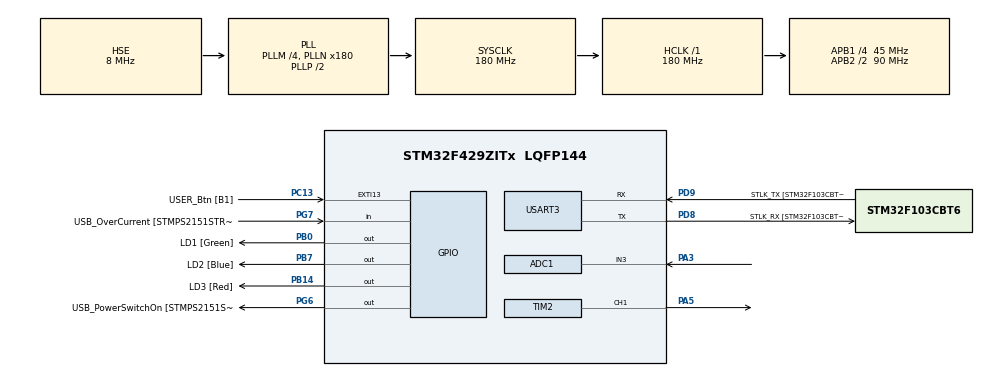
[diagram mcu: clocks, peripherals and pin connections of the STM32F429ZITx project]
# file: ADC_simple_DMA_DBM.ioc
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ADC1.Channel-1\#ChannelRegularConversion=ADC_CHANNEL_3
ADC1.NbrOfConversionFlag=1
ADC1.Rank-1\#ChannelRegularConversion=1
ADC1.SamplingTime-1\#ChannelRegularConversion=ADC_SAMPLETIME_3CYCLES
ADC1.master=1
Dma.ADC1.0.Direction=DMA_PERIPH_TO_MEMORY
Dma.ADC1.0.FIFOMode=DMA_FIFOMODE_DISABLE
Dma.ADC1.0.Instance=DMA2_Stream0
Dma.ADC1.0.MemDataAlignment=DMA_MDATAALIGN_HALFWORD
Dma.ADC1.0.MemInc=DMA_MINC_ENABLE
Dma.ADC1.0.Mode=DMA_NORMAL
Dma.ADC1.0.PeriphDataAlignment=DMA_PDATAALIGN_HALFWORD
Dma.ADC1.0.PeriphInc=DMA_PINC_DISABLE
Dma.ADC1.0.Priority=DMA_PRIORITY_MEDIUM
Dma.Request0=ADC1
Mcu.Family=STM32F4
Mcu.Name=STM32F429ZITx
Mcu.Package=LQFP144
NVIC.DMA2_Stream0_IRQn=true\:0\:0\:false\:false\:true\:false\:true\:true
NVIC.PriorityGroup=NVIC_PRIORITYGROUP_4
PA1.GPIO_Label=RMII_REF_CLK [LAN8742A-CZ-TR_REFCLK0]
PA1.Signal=ETH_REF_CLK
PA10.GPIO_Label=USB_ID
PA10.Signal=USB_OTG_FS_ID
PA11.GPIO_Label=USB_DM
PA11.Signal=USB_OTG_FS_DM
PA12.GPIO_Label=USB_DP
PA12.Signal=USB_OTG_FS_DP
PA13.GPIO_Label=TMS
PA13.Mode=Serial_Wire
PA13.Signal=SYS_JTMS-SWDIO
PA14.GPIO_Label=TCK
PA14.Mode=Serial_Wire
PA14.Signal=SYS_JTCK-SWCLK
PA2.GPIO_Label=RMII_MDIO [LAN8742A-CZ-TR_MDIO]
PA2.Signal=ETH_MDIO
PA3.Signal=ADCx_IN3
PA5.Signal=S_TIM2_CH1_ETR
PA7.GPIO_Label=RMII_CRS_DV [LAN8742A-CZ-TR_CRS_DV]
PA7.Signal=ETH_CRS_DV
PA8.GPIO_Label=USB_SOF [TP1]
PA8.Signal=USB_OTG_FS_SOF
PA9.GPIO_Label=USB_VBUS
PA9.Signal=USB_OTG_FS_VBUS
PB0.GPIO_Label=LD1 [Green]
PB0.Signal=GPIO_Output
PB13.GPIO_Label=RMII_TXD1 [LAN8742A-CZ-TR_TXD1]
PB13.Signal=ETH_TXD1
PB14.GPIO_Label=LD3 [Red]
PB14.Signal=GPIO_Output
PB7.GPIO_Label=LD2 [Blue]
PB7.Signal=GPIO_Output
PC1.GPIO_Label=RMII_MDC [LAN8742A-CZ-TR_MDC]
PC1.Signal=ETH_MDC
PC13.GPIO_Label=USER_Btn [B1]
PC13.Signal=GPXTI13
PC14/OSC32_IN.Mode=LSE-External-Oscillator
PC14/OSC32_IN.Signal=RCC_OSC32_IN
PC15/OSC32_OUT.Mode=LSE-External-Oscillator
PC15/OSC32_OUT.Signal=RCC_OSC32_OUT
PC4.GPIO_Label=RMII_RXD0 [LAN8742A-CZ-TR_RXD0]
PC4.Signal=ETH_RXD0
PC5.GPIO_Label=RMII_RXD1 [LAN8742A-CZ-TR_RXD1]
PC5.Signal=ETH_RXD1
PD8.GPIO_Label=STLK_RX [STM32F103CBT6_PA3]
PD8.Mode=Asynchronous
PD8.Signal=USART3_TX
PD9.GPIO_Label=STLK_TX [STM32F103CBT6_PA2]
PD9.Mode=Asynchronous
PD9.Signal=USART3_RX
PG11.GPIO_Label=RMII_TX_EN [LAN8742A-CZ-TR_TXEN]
PG11.Signal=ETH_TX_EN
PG13.GPIO_Label=RMII_TXD0 [LAN8742A-CZ-TR_TXD0]
PG13.Signal=ETH_TXD0
PG6.GPIO_Label=USB_PowerSwitchOn [STMPS2151STR_EN]
PG6.Signal=GPIO_Output
PG7.GPIO_Label=USB_OverCurrent [STMPS2151STR_FAULT]
PG7.Signal=GPIO_Input
PH0/OSC_IN.GPIO_Label=MCO [STM32F103CBT6_PA8]
PH0/OSC_IN.Mode=HSE-External-Oscillator
PH0/OSC_IN.Signal=RCC_OSC_IN
PH1/OSC_OUT.Mode=HSE-External-Oscillator
PH1/OSC_OUT.Signal=RCC_OSC_OUT
ProjectManager.HeapSize=0x200
ProjectManager.StackSize=0x400
ProjectManager.TargetToolchain=STM32CubeIDE
RCC.48MHZClocksFreq_Value=51428571.428571425
RCC.AHBFreq_Value=180000000
RCC.APB1CLKDivider=RCC_HCLK_DIV4
RCC.APB1Freq_Value=45000000
RCC.APB1TimFreq_Value=90000000
RCC.APB2CLKDivider=RCC_HCLK_DIV2
RCC.APB2Freq_Value=90000000
RCC.APB2TimCLKDivider=2
RCC.APB2TimFreq_Value=180000000
RCC.CortexFreq_Value=180000000
RCC.HCLKFreq_Value=180000000
RCC.HSE_VALUE=8000000
RCC.HSI_VALUE=16000000
RCC.PLLM=4
RCC.PLLMUL=RCC_PLL_MUL9
RCC.PLLN=180
RCC.PLLQ=7
RCC.PLLSourceVirtual=RCC_PLLSOURCE_HSE
RCC.PRESCALERUSB=RCC_USBCLKSOURCE_PLL_DIV1_5
RCC.SYSCLKFreq_VALUE=180000000
RCC.SYSCLKSource=RCC_SYSCLKSOURCE_PLLCLK
RCC.SYSCLKSourceVirtual=RCC_SYSCLKSOURCE_PLLCLK
RCC.USBFreq_Value=48000000
RCC.VCOOutputFreq_Value=360000000
SH.ADCx_IN3.0=ADC1_IN3,IN3
SH.S_TIM2_CH1_ETR.0=TIM2_CH1,PWM Generation1 CH1
TIM2.AutoReloadPreload=TIM_AUTORELOAD_PRELOAD_ENABLE
TIM2.Channel-PWM\ Generation1\ CH1=TIM_CHANNEL_1
TIM2.Period=65535
TIM2.Prescaler=1
USART3.VirtualMode=VM_ASYNC
VP_TIM2_VS_ClockSourceINT.Mode=Internal
board=NUCLEO-F429ZI

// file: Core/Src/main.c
/* USER CODE BEGIN Header */
/**
  ******************************************************************************
  * @file           : main.c
  * @brief          : Ejemplo de ADC simple utilizando DMA.
  ******************************************************************************
  *
  * El ejemplo se desarrolló en base a:
  * https://deepbluembedded.com/stm32-adc-read-example-dma-interrupt-polling/
  *
  ******************************************************************************
  */
/* USER CODE END Header */
#include "main.h"

/* USER CODE BEGIN Includes */
#include "uOSAL.h"

/* USER CODE END Includes */

/* USER CODE BEGIN PM */
#define DELTA 500

/* USER CODE END PM */

ADC_HandleTypeDef hadc1;
DMA_HandleTypeDef hdma_adc1;
TIM_HandleTypeDef htim2;
UART_HandleTypeDef huart3;

/* USER CODE BEGIN PV */
uint32_t AD_RES = 0;

/* USER CODE END PV */

void SystemClock_Config(void);
static void MX_GPIO_Init(void);
static void MX_DMA_Init(void);
static void MX_USART3_UART_Init(void);
static void MX_ADC1_Init(void);
static void MX_TIM2_Init(void);

int main(void)
{

  /* MCU Configuration--------------------------------------------------------*/

  /* Reset of all peripherals, Initializes the Flash interface and the Systick. */
  HAL_Init();

  /* Configure the system clock */
  SystemClock_Config();

  /* Initialize all configured peripherals */
  MX_GPIO_Init();
  MX_DMA_Init();
  MX_USART3_UART_Init();
  MX_ADC1_Init();
  MX_TIM2_Init();
  /* USER CODE BEGIN 2 */
  //-----------------------------------------------------------------------------------------------
  uint32_t Tiempo_ms = uOSALmiliseg ();
  uartInit();

  GPIO_InitTypeDef  GPIO_InitStruct;
  GPIO_InitStruct.Pin = GPIO_PIN_0;
  GPIO_InitStruct.Mode = GPIO_MODE_OUTPUT_PP;
  GPIO_InitStruct.Pull = GPIO_NOPULL;
  GPIO_InitStruct.Speed = GPIO_SPEED_FAST;
  HAL_GPIO_Init(GPIOA, &GPIO_InitStruct);

  HAL_TIM_PWM_Start(&htim2, TIM_CHANNEL_1);
  //HAL_ADCEx_Calibration_Start(&hadc1);   // Calibrate The ADC On Power-Up For Better Accuracy

  //-----------------------------------------------------------------------------------------------
  /* USER CODE END 2 */

  /* Infinite loop */
  while (1)
  {

    /* USER CODE BEGIN 3 */
	//---------------------------------------------------------------------------------------------

	// Para medir tiempo de conversión
	HAL_GPIO_WritePin(GPIOA, GPIO_PIN_0, GPIO_PIN_SET);

	// Start ADC Conversion
	HAL_ADC_Start_DMA(&hadc1, &AD_RES, 1);
	HAL_Delay(1);

	// Evalúo si envío a UART
	if (uOSALmiliseg ()-Tiempo_ms > DELTA) {
		Tiempo_ms += DELTA;
		uEscribirTextoEnteroP ("Leo:", AD_RES);
	}

  }
  //-----------------------------------------------------------------------------------------------
  /* USER CODE END 3 */
}

void HAL_ADC_ConvCpltCallback(ADC_HandleTypeDef* hadc)
{
    // Read & Update The ADC Result
    TIM2->CCR1 = (AD_RES<<4);
    // Para medir tiempo de conversión
    HAL_GPIO_WritePin(GPIOA, GPIO_PIN_0, GPIO_PIN_RESET);
}

void SystemClock_Config(void)
{
  RCC_OscInitTypeDef RCC_OscInitStruct = {0};
  RCC_ClkInitTypeDef RCC_ClkInitStruct = {0};

  /** Configure the main internal regulator output voltage
  */
  __HAL_RCC_PWR_CLK_ENABLE();
  __HAL_PWR_VOLTAGESCALING_CONFIG(PWR_REGULATOR_VOLTAGE_SCALE1);

  /** Initializes the RCC Oscillators according to the specified parameters
  * in the RCC_OscInitTypeDef structure.
  */
  RCC_OscInitStruct.OscillatorType = RCC_OSCILLATORTYPE_HSE;
  RCC_OscInitStruct.HSEState = RCC_HSE_ON;
  RCC_OscInitStruct.PLL.PLLState = RCC_PLL_ON;
  RCC_OscInitStruct.PLL.PLLSource = RCC_PLLSOURCE_HSE;
  RCC_OscInitStruct.PLL.PLLM = 4;
  RCC_OscInitStruct.PLL.PLLN = 180;
  RCC_OscInitStruct.PLL.PLLP = RCC_PLLP_DIV2;
  RCC_OscInitStruct.PLL.PLLQ = 7;
  if (HAL_RCC_OscConfig(&RCC_OscInitStruct) != HAL_OK)
  {
    Error_Handler();
  }

  /** Activate the Over-Drive mode
  */
  if (HAL_PWREx_EnableOverDrive() != HAL_OK)
  {
    Error_Handler();
  }

  /** Initializes the CPU, AHB and APB buses clocks
  */
  RCC_ClkInitStruct.ClockType = RCC_CLOCKTYPE_HCLK|RCC_CLOCKTYPE_SYSCLK
                              |RCC_CLOCKTYPE_PCLK1|RCC_CLOCKTYPE_PCLK2;
  RCC_ClkInitStruct.SYSCLKSource = RCC_SYSCLKSOURCE_PLLCLK;
  RCC_ClkInitStruct.AHBCLKDivider = RCC_SYSCLK_DIV1;
  RCC_ClkInitStruct.APB1CLKDivider = RCC_HCLK_DIV4;
  RCC_ClkInitStruct.APB2CLKDivider = RCC_HCLK_DIV2;

  if (HAL_RCC_ClockConfig(&RCC_ClkInitStruct, FLASH_LATENCY_5) != HAL_OK)
  {
    Error_Handler();
  }
}

static void MX_ADC1_Init(void)
{

  ADC_ChannelConfTypeDef sConfig = {0};

  /** Configure the global features of the ADC (Clock, Resolution, Data Alignment and number of conversion)
  */
  hadc1.Instance = ADC1;
  hadc1.Init.ClockPrescaler = ADC_CLOCK_SYNC_PCLK_DIV4;
  hadc1.Init.Resolution = ADC_RESOLUTION_12B;
  hadc1.Init.ScanConvMode = DISABLE;
  hadc1.Init.ContinuousConvMode = DISABLE;
  hadc1.Init.DiscontinuousConvMode = DISABLE;
  hadc1.Init.ExternalTrigConvEdge = ADC_EXTERNALTRIGCONVEDGE_NONE;
  hadc1.Init.ExternalTrigConv = ADC_SOFTWARE_START;
  hadc1.Init.DataAlign = ADC_DATAALIGN_RIGHT;
  hadc1.Init.NbrOfConversion = 1;
  hadc1.Init.DMAContinuousRequests = DISABLE;
  hadc1.Init.EOCSelection = ADC_EOC_SINGLE_CONV;
  if (HAL_ADC_Init(&hadc1) != HAL_OK)
  {
    Error_Handler();
  }

  /** Configure for the selected ADC regular channel its corresponding rank in the sequencer and its sample time.
  */
  sConfig.Channel = ADC_CHANNEL_3;
  sConfig.Rank = 1;
  sConfig.SamplingTime = ADC_SAMPLETIME_3CYCLES;
  if (HAL_ADC_ConfigChannel(&hadc1, &sConfig) != HAL_OK)
  {
    Error_Handler();
  }

}

static void MX_TIM2_Init(void)
{

  TIM_ClockConfigTypeDef sClockSourceConfig = {0};
  TIM_MasterConfigTypeDef sMasterConfig = {0};
  TIM_OC_InitTypeDef sConfigOC = {0};

  htim2.Instance = TIM2;
  htim2.Init.Prescaler = 1;
  htim2.Init.CounterMode = TIM_COUNTERMODE_UP;
  htim2.Init.Period = 65535;
  htim2.Init.ClockDivision = TIM_CLOCKDIVISION_DIV1;
  htim2.Init.AutoReloadPreload = TIM_AUTORELOAD_PRELOAD_ENABLE;
  if (HAL_TIM_Base_Init(&htim2) != HAL_OK)
  {
    Error_Handler();
  }
  sClockSourceConfig.ClockSource = TIM_CLOCKSOURCE_INTERNAL;
  if (HAL_TIM_ConfigClockSource(&htim2, &sClockSourceConfig) != HAL_OK)
  {
    Error_Handler();
  }
  if (HAL_TIM_PWM_Init(&htim2) != HAL_OK)
  {
    Error_Handler();
  }
  sMasterConfig.MasterOutputTrigger = TIM_TRGO_RESET;
  sMasterConfig.MasterSlaveMode = TIM_MASTERSLAVEMODE_DISABLE;
  if (HAL_TIMEx_MasterConfigSynchronization(&htim2, &sMasterConfig) != HAL_OK)
  {
    Error_Handler();
  }
  sConfigOC.OCMode = TIM_OCMODE_PWM1;
  sConfigOC.Pulse = 0;
  sConfigOC.OCPolarity = TIM_OCPOLARITY_HIGH;
  sConfigOC.OCFastMode = TIM_OCFAST_DISABLE;
  if (HAL_TIM_PWM_ConfigChannel(&htim2, &sConfigOC, TIM_CHANNEL_1) != HAL_OK)
  {
    Error_Handler();
  }
  HAL_TIM_MspPostInit(&htim2);

}

static void MX_USART3_UART_Init(void)
{

  huart3.Instance = USART3;
  huart3.Init.BaudRate = 115200;
  huart3.Init.WordLength = UART_WORDLENGTH_8B;
  huart3.Init.StopBits = UART_STOPBITS_1;
  huart3.Init.Parity = UART_PARITY_NONE;
  huart3.Init.Mode = UART_MODE_TX_RX;
  huart3.Init.HwFlowCtl = UART_HWCONTROL_NONE;
  huart3.Init.OverSampling = UART_OVERSAMPLING_16;
  if (HAL_UART_Init(&huart3) != HAL_OK)
  {
    Error_Handler();
  }

}

static void MX_DMA_Init(void)
{

  /* DMA controller clock enable */
  __HAL_RCC_DMA2_CLK_ENABLE();

  /* DMA interrupt init */
  /* DMA2_Stream0_IRQn interrupt configuration */
  HAL_NVIC_SetPriority(DMA2_Stream0_IRQn, 0, 0);
  HAL_NVIC_EnableIRQ(DMA2_Stream0_IRQn);

}

static void MX_GPIO_Init(void)
{
  GPIO_InitTypeDef GPIO_InitStruct = {0};

  /* GPIO Ports Clock Enable */
  __HAL_RCC_GPIOC_CLK_ENABLE();
  __HAL_RCC_GPIOH_CLK_ENABLE();
  __HAL_RCC_GPIOA_CLK_ENABLE();
  __HAL_RCC_GPIOB_CLK_ENABLE();
  __HAL_RCC_GPIOD_CLK_ENABLE();
  __HAL_RCC_GPIOG_CLK_ENABLE();

  /*Configure GPIO pin Output Level */
  HAL_GPIO_WritePin(GPIOB, LD1_Pin|LD3_Pin|LD2_Pin, GPIO_PIN_RESET);

  /*Configure GPIO pin Output Level */
  HAL_GPIO_WritePin(USB_PowerSwitchOn_GPIO_Port, USB_PowerSwitchOn_Pin, GPIO_PIN_RESET);

  /*Configure GPIO pin : USER_Btn_Pin */
  GPIO_InitStruct.Pin = USER_Btn_Pin;
  GPIO_InitStruct.Mode = GPIO_MODE_IT_RISING;
  GPIO_InitStruct.Pull = GPIO_NOPULL;
  HAL_GPIO_Init(USER_Btn_GPIO_Port, &GPIO_InitStruct);

  /*Configure GPIO pins : RMII_MDC_Pin RMII_RXD0_Pin RMII_RXD1_Pin */
  GPIO_InitStruct.Pin = RMII_MDC_Pin|RMII_RXD0_Pin|RMII_RXD1_Pin;
  GPIO_InitStruct.Mode = GPIO_MODE_AF_PP;
  GPIO_InitStruct.Pull = GPIO_NOPULL;
  GPIO_InitStruct.Speed = GPIO_SPEED_FREQ_VERY_HIGH;
  GPIO_InitStruct.Alternate = GPIO_AF11_ETH;
  HAL_GPIO_Init(GPIOC, &GPIO_InitStruct);

  /*Configure GPIO pins : RMII_REF_CLK_Pin RMII_MDIO_Pin RMII_CRS_DV_Pin */
  GPIO_InitStruct.Pin = RMII_REF_CLK_Pin|RMII_MDIO_Pin|RMII_CRS_DV_Pin;
  GPIO_InitStruct.Mode = GPIO_MODE_AF_PP;
  GPIO_InitStruct.Pull = GPIO_NOPULL;
  GPIO_InitStruct.Speed = GPIO_SPEED_FREQ_VERY_HIGH;
  GPIO_InitStruct.Alternate = GPIO_AF11_ETH;
  HAL_GPIO_Init(GPIOA, &GPIO_InitStruct);

  /*Configure GPIO pins : LD1_Pin LD3_Pin LD2_Pin */
  GPIO_InitStruct.Pin = LD1_Pin|LD3_Pin|LD2_Pin;
  GPIO_InitStruct.Mode = GPIO_MODE_OUTPUT_PP;
  GPIO_InitStruct.Pull = GPIO_NOPULL;
  GPIO_InitStruct.Speed = GPIO_SPEED_FREQ_LOW;
  HAL_GPIO_Init(GPIOB, &GPIO_InitStruct);

  /*Configure GPIO pin : RMII_TXD1_Pin */
  GPIO_InitStruct.Pin = RMII_TXD1_Pin;
  GPIO_InitStruct.Mode = GPIO_MODE_AF_PP;
  GPIO_InitStruct.Pull = GPIO_NOPULL;
  GPIO_InitStruct.Speed = GPIO_SPEED_FREQ_VERY_HIGH;
  GPIO_InitStruct.Alternate = GPIO_AF11_ETH;
  HAL_GPIO_Init(RMII_TXD1_GPIO_Port, &GPIO_InitStruct);

  /*Configure GPIO pin : USB_PowerSwitchOn_Pin */
  GPIO_InitStruct.Pin = USB_PowerSwitchOn_Pin;
  GPIO_InitStruct.Mode = GPIO_MODE_OUTPUT_PP;
  GPIO_InitStruct.Pull = GPIO_NOPULL;
  GPIO_InitStruct.Speed = GPIO_SPEED_FREQ_LOW;
  HAL_GPIO_Init(USB_PowerSwitchOn_GPIO_Port, &GPIO_InitStruct);

  /*Configure GPIO pin : USB_OverCurrent_Pin */
  GPIO_InitStruct.Pin = USB_OverCurrent_Pin;
  GPIO_InitStruct.Mode = GPIO_MODE_INPUT;
  GPIO_InitStruct.Pull = GPIO_NOPULL;
  HAL_GPIO_Init(USB_OverCurrent_GPIO_Port, &GPIO_InitStruct);

  /*Configure GPIO pins : USB_SOF_Pin USB_ID_Pin USB_DM_Pin USB_DP_Pin */
  GPIO_InitStruct.Pin = USB_SOF_Pin|USB_ID_Pin|USB_DM_Pin|USB_DP_Pin;
  GPIO_InitStruct.Mode = GPIO_MODE_AF_PP;
  GPIO_InitStruct.Pull = GPIO_NOPULL;
  GPIO_InitStruct.Speed = GPIO_SPEED_FREQ_VERY_HIGH;
  GPIO_InitStruct.Alternate = GPIO_AF10_OTG_FS;
  HAL_GPIO_Init(GPIOA, &GPIO_InitStruct);

  /*Configure GPIO pin : USB_VBUS_Pin */
  GPIO_InitStruct.Pin = USB_VBUS_Pin;
  GPIO_InitStruct.Mode = GPIO_MODE_INPUT;
  GPIO_InitStruct.Pull = GPIO_NOPULL;
  HAL_GPIO_Init(USB_VBUS_GPIO_Port, &GPIO_InitStruct);

  /*Configure GPIO pins : RMII_TX_EN_Pin RMII_TXD0_Pin */
  GPIO_InitStruct.Pin = RMII_TX_EN_Pin|RMII_TXD0_Pin;
  GPIO_InitStruct.Mode = GPIO_MODE_AF_PP;
  GPIO_InitStruct.Pull = GPIO_NOPULL;
  GPIO_InitStruct.Speed = GPIO_SPEED_FREQ_VERY_HIGH;
  GPIO_InitStruct.Alternate = GPIO_AF11_ETH;
  HAL_GPIO_Init(GPIOG, &GPIO_InitStruct);

}

void Error_Handler(void)
{
  __disable_irq();
  while (1)
  {
  }
}
